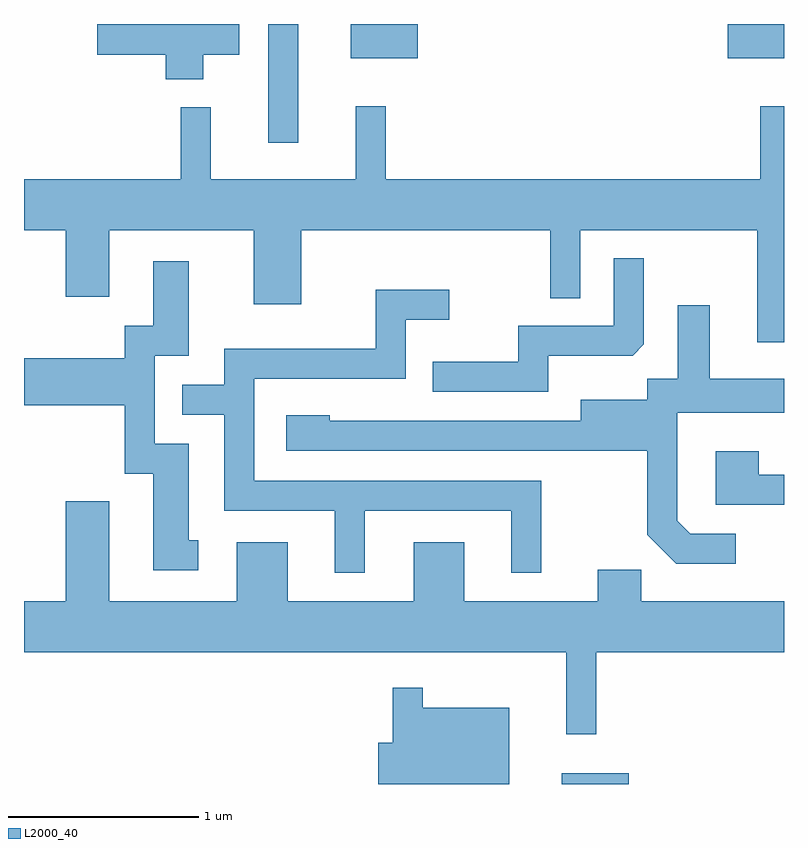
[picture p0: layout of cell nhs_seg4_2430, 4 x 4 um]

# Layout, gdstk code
import gdstk
lib = gdstk.Library(unit=1e-6, precision=1e-09)
def R(c, l, rs):  # rectangles x0, y0, x1, y1
    for r in rs: c.add(gdstk.rectangle(r[:2], r[2:], *l))
def P(c, l, *ps):  # polygons
    for p in ps: c.add(gdstk.Polygon(p, *l))
L2000_40 = (2000, 40)

nhs_seg4_2430 = lib.new_cell('nhs_seg4_2430')
R(nhs_seg4_2430, L2000_40, [(258.441,1353.982,258.794,1354.039), (256.896,1357.358,257.054,1357.982), (257.331,1357.801,257.684,1357.982), (259.316,1357.801,259.611,1357.982)])
P(nhs_seg4_2430, L2000_40, [(256.554,1357.821),(256.744,1357.821),(256.744,1357.982),(255.996,1357.982),(255.996,1357.821),(256.356,1357.821),(256.356,1357.691),(256.554,1357.691)],
  [(259.611,1357.548),(259.486,1357.548),(259.486,1357.164),(257.514,1357.164),(257.514,1357.548),(257.356,1357.548),(257.356,1357.164),(256.594,1357.164),(256.594,1357.543),(256.436,1357.543),(256.436,1357.164),(255.611,1357.164),(255.611,1356.896),(255.831,1356.896),(255.831,1356.546),(256.059,1356.546),(256.059,1356.896),(256.821,1356.896),(256.821,1356.506),(257.069,1356.506),(257.069,1356.896),(258.381,1356.896),(258.381,1356.538),(258.539,1356.538),(258.539,1356.896),(259.471,1356.896),(259.471,1356.306),(259.611,1356.306)],
  [(258.369,1356.236),(258.814,1356.236),(258.874,1356.297),(258.874,1356.748),(258.716,1356.748),(258.716,1356.394),(258.211,1356.394),(258.211,1356.204),(257.763,1356.204),(257.763,1356.046),(258.369,1356.046)],
  [(256.528,1355.264),(256.479,1355.264),(256.479,1355.774),(256.299,1355.774),(256.299,1356.236),(256.479,1356.236),(256.479,1356.734),(256.291,1356.734),(256.291,1356.394),(256.141,1356.394),(256.141,1356.224),(255.611,1356.224),(255.611,1355.976),(256.141,1355.976),(256.141,1355.616),(256.291,1355.616),(256.291,1355.106),(256.528,1355.106)],
  [(257.404,1355.421),(258.176,1355.421),(258.176,1355.093),(258.334,1355.093),(258.334,1355.579),(256.824,1355.579),(256.824,1356.116),(257.619,1356.116),(257.619,1356.426),(257.848,1356.426),(257.848,1356.584),(257.461,1356.584),(257.461,1356.274),(256.666,1356.274),(256.666,1356.084),(256.443,1356.084),(256.443,1355.926),(256.666,1355.926),(256.666,1355.421),(257.246,1355.421),(257.246,1355.093),(257.404,1355.093)],
  [(259.358,1355.299),(259.117,1355.299),(259.049,1355.367),(259.049,1355.936),(259.611,1355.936),(259.611,1356.114),(259.219,1356.114),(259.219,1356.503),(259.051,1356.503),(259.051,1356.114),(258.891,1356.114),(258.891,1356.004),(258.541,1356.004),(258.541,1355.894),(257.219,1355.894),(257.219,1355.924),(256.991,1355.924),(256.991,1355.736),(258.891,1355.736),(258.891,1355.294),(259.044,1355.141),(259.358,1355.141)],
  [(259.611,1355.609),(259.479,1355.609),(259.479,1355.734),(259.251,1355.734),(259.251,1355.451),(259.611,1355.451)],
  [(258.624,1354.676),(259.611,1354.676),(259.611,1354.944),(258.859,1354.944),(258.859,1355.109),(258.631,1355.109),(258.631,1354.944),(257.929,1354.944),(257.929,1355.254),(257.661,1355.254),(257.661,1354.944),(256.999,1354.944),(256.999,1355.254),(256.731,1355.254),(256.731,1354.944),(256.059,1354.944),(256.059,1355.469),(255.831,1355.469),(255.831,1354.944),(255.611,1354.944),(255.611,1354.676),(258.466,1354.676),(258.466,1354.243),(258.624,1354.243)],
  [(258.164,1354.384),(257.709,1354.384),(257.709,1354.488),(257.551,1354.488),(257.551,1354.199),(257.476,1354.199),(257.476,1353.982),(258.164,1353.982)])

lib.write_gds('nhs_seg4_2430.gds')
